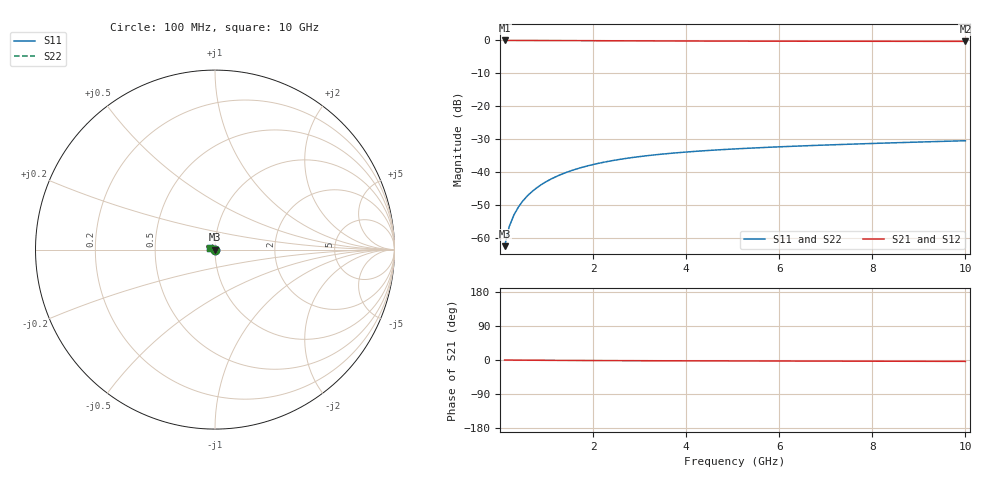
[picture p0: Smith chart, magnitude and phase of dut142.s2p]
! Touchstone file exported from HFSS 2024.1.0
!  File:  C:/UserFiles/LocalFiles/RDL_TSV_Batchsim/temp_TSV1_142_1779380676.aedt
!  Generated:  12:29:26 AM May 22, 2026
!  Design:  TSV1
!  Project:  temp_TSV1_142_1779380676
!  Setup:  Setup1
!  Solution:  Sweep
! Variables:
!  dtsv = 9.52um
!  hbump = 3um
!  htsv = 52.2um
!  lrdl = 252.1521522um
!  p = 40
!  p1 = 53.96um
!  t = 500um
!  trdl = 3um
!  wrdl = 24.89489489um
# GHz S MA R 50.000000
! Terminal data exported
! Port[1] = TSV22_T1
! Port[2] = TSV22_T2
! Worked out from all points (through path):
!   100 points, 100 MHz to 10 GHz, reference 50 ohm
!   highest |S21| = 0.00 dB at 100 MHz (marker M1); lowest = -0.3 dB at 10 GHz (marker M2)
!   lowest |S11| = -62.5 dB at 100 MHz (marker M3), VSWR 1.00, Z = 50 - j0.0748 ohm
!   |S11| at or under -10 dB: start of sweep to end of sweep
!   |S22| runs from -62.5 to -30.4 dB; largest |S21 - S12| = 3.2e-15
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0.1  0.000754 -82.5  0.9998 -0.1  0.9998 -0.1  0.000754 -82.5
! Gamma 0 0 0 0
! Port Impedance 50 0 50 0
0.2  0.0015 -89.1  0.9997 -0.2  0.9997 -0.2  0.0015 -89.1
0.3  0.002246 -92.8  0.9996 -0.3  0.9996 -0.3  0.002246 -92.8
0.4  0.002988 -95.8  0.9994 -0.3  0.9994 -0.3  0.002988 -95.8
0.5  0.003723 -98.3  0.9991 -0.4  0.9991 -0.4  0.003723 -98.3
0.6  0.004448 -100.7  0.9988 -0.5  0.9988 -0.5  0.004448 -100.7
0.7  0.005163 -103.0  0.9985 -0.6  0.9985 -0.6  0.005163 -103.0
0.8  0.005867 -105.2  0.9981 -0.7  0.9981 -0.7  0.005867 -105.2
0.9  0.006557 -107.4  0.9977 -0.7  0.9977 -0.7  0.006557 -107.4
1.1  0.007893 -111.5  0.9967 -0.9  0.9967 -0.9  0.007893 -111.5
1.4  0.009776 -117.4  0.9951 -1.1  0.9951 -1.1  0.009776 -117.4
1.6  0.01095 -121.1  0.9939 -1.2  0.9939 -1.2  0.01095 -121.1
1.8  0.01204 -124.7  0.9927 -1.3  0.9927 -1.3  0.01204 -124.7
2.1  0.01356 -129.7  0.9909 -1.5  0.9909 -1.5  0.01356 -129.7
2.5  0.01535 -136.0  0.9885 -1.7  0.9885 -1.7  0.01535 -136.0
2.9  0.01691 -141.7  0.9862 -1.8  0.9862 -1.8  0.01691 -141.7
3.4  0.01857 -148.2  0.9837 -2.0  0.9837 -2.0  0.01857 -148.2
4.2  0.02073 -157.2  0.9802 -2.2  0.9802 -2.2  0.02073 -157.2
5.1  0.02267 -165.9  0.9772 -2.5  0.9772 -2.5  0.02267 -165.9
6.7  0.0254 -178.4  0.9734 -2.8  0.9734 -2.8  0.0254 -178.4
8.4  0.02786 171.0  0.9709 -3.3  0.9709 -3.3  0.02786 171.0
10  0.03005 162.7  0.9693 -3.6  0.9693 -3.6  0.03005 162.7
